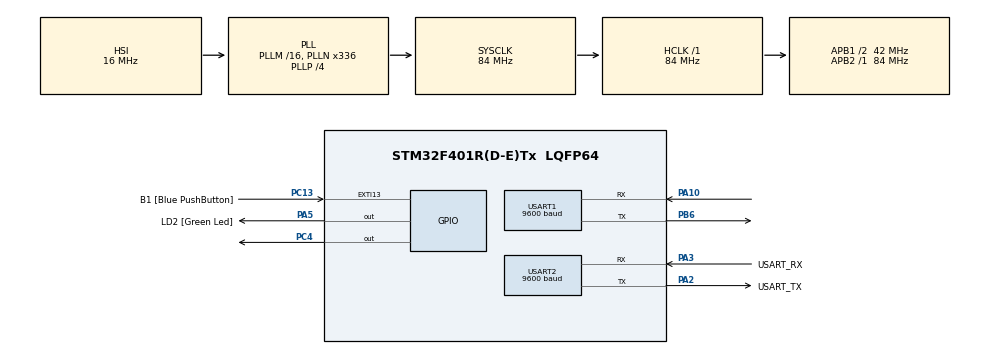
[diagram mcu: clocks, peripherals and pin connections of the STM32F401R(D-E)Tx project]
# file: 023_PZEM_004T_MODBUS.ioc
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Dma.Request0=USART2_RX
Dma.USART2_RX.0.Direction=DMA_PERIPH_TO_MEMORY
Dma.USART2_RX.0.FIFOMode=DMA_FIFOMODE_DISABLE
Dma.USART2_RX.0.Instance=DMA1_Stream5
Dma.USART2_RX.0.MemDataAlignment=DMA_MDATAALIGN_BYTE
Dma.USART2_RX.0.MemInc=DMA_MINC_ENABLE
Dma.USART2_RX.0.Mode=DMA_CIRCULAR
Dma.USART2_RX.0.PeriphDataAlignment=DMA_PDATAALIGN_BYTE
Dma.USART2_RX.0.PeriphInc=DMA_PINC_DISABLE
Dma.USART2_RX.0.Priority=DMA_PRIORITY_LOW
Mcu.Family=STM32F4
Mcu.Name=STM32F401R(D-E)Tx
Mcu.Package=LQFP64
NVIC.DMA1_Stream5_IRQn=true\:0\:0\:false\:false\:true\:false\:true\:true
NVIC.PriorityGroup=NVIC_PRIORITYGROUP_0
NVIC.USART1_IRQn=true\:0\:0\:false\:false\:true\:true\:true\:true
PA10.Mode=Asynchronous
PA10.Signal=USART1_RX
PA13.GPIO_Label=TMS
PA13.Mode=Serial_Wire
PA13.Signal=SYS_JTMS-SWDIO
PA14.GPIO_Label=TCK
PA14.Mode=Serial_Wire
PA14.Signal=SYS_JTCK-SWCLK
PA2.GPIO_Label=USART_TX
PA2.GPIO_Mode=GPIO_MODE_AF_PP
PA2.GPIO_PuPd=GPIO_NOPULL
PA2.GPIO_Speed=GPIO_SPEED_FREQ_LOW
PA2.Mode=Asynchronous
PA2.Signal=USART2_TX
PA3.GPIO_Label=USART_RX
PA3.GPIO_Mode=GPIO_MODE_AF_PP
PA3.GPIO_PuPd=GPIO_NOPULL
PA3.GPIO_Speed=GPIO_SPEED_FREQ_LOW
PA3.Mode=Asynchronous
PA3.Signal=USART2_RX
PA5.GPIO_Label=LD2 [Green Led]
PA5.GPIO_Mode=GPIO_MODE_OUTPUT_PP
PA5.GPIO_PuPd=GPIO_NOPULL
PA5.GPIO_Speed=GPIO_SPEED_FREQ_LOW
PA5.Signal=GPIO_Output
PB3.GPIO_Label=SWO
PB3.Signal=SYS_JTDO-SWO
PB6.Mode=Asynchronous
PB6.Signal=USART1_TX
PC13-ANTI_TAMP.GPIO_Label=B1 [Blue PushButton]
PC13-ANTI_TAMP.GPIO_ModeDefaultEXTI=GPIO_MODE_IT_FALLING
PC13-ANTI_TAMP.GPIO_PuPd=GPIO_NOPULL
PC13-ANTI_TAMP.Signal=GPXTI13
PC14-OSC32_IN.Signal=RCC_OSC32_IN
PC15-OSC32_OUT.Signal=RCC_OSC32_OUT
PC4.Signal=GPIO_Output
PH0\ -\ OSC_IN.Mode=HSE-External-Oscillator
PH0\ -\ OSC_IN.Signal=RCC_OSC_IN
PH1\ -\ OSC_OUT.Mode=HSE-External-Oscillator
PH1\ -\ OSC_OUT.Signal=RCC_OSC_OUT
ProjectManager.HeapSize=0x200
ProjectManager.StackSize=0x400
ProjectManager.TargetToolchain=STM32CubeIDE
RCC.AHBFreq_Value=84000000
RCC.APB1CLKDivider=RCC_HCLK_DIV2
RCC.APB1Freq_Value=42000000
RCC.APB1TimFreq_Value=84000000
RCC.APB2Freq_Value=84000000
RCC.APB2TimFreq_Value=84000000
RCC.CortexFreq_Value=84000000
RCC.HCLKFreq_Value=84000000
RCC.HSE_VALUE=8000000
RCC.HSI_VALUE=16000000
RCC.LSE_VALUE=32768
RCC.PLLN=336
RCC.PLLP=RCC_PLLP_DIV4
RCC.PLLQ=7
RCC.SYSCLKFreq_VALUE=84000000
RCC.SYSCLKSource=RCC_SYSCLKSOURCE_PLLCLK
RCC.VCOOutputFreq_Value=336000000
USART1.BaudRate=9600
USART1.VirtualMode=VM_ASYNC
USART2.BaudRate=9600
USART2.VirtualMode=VM_ASYNC
board=NUCLEO-F401RE

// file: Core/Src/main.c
/* USER CODE BEGIN Header */
/**
  ******************************************************************************
  * @file           : main.c
  * @brief          : Main program body
  ******************************************************************************
  * @attention
  *
  * Copyright (c) 2022 STMicroelectronics.
  * All rights reserved.
  *
  * This software is licensed under terms that can be found in the LICENSE file
  * in the root directory of this software component.
  * If no LICENSE file comes with this software, it is provided AS-IS.
  *
  ******************************************************************************
  */
/* USER CODE END Header */
#include "main.h"

/* USER CODE BEGIN Includes */
#include "pzem004T.h"
#include "stdio.h"
#include "string.h"
#include "stdlib.h"
#include <stdarg.h>
/* USER CODE END Includes */

 UART_HandleTypeDef huart1;
UART_HandleTypeDef huart2;
DMA_HandleTypeDef hdma_usart2_rx;

void SystemClock_Config(void);
static void MX_GPIO_Init(void);
static void MX_DMA_Init(void);
static void MX_USART2_UART_Init(void);
static void MX_USART1_UART_Init(void);
/* USER CODE BEGIN PFP */
uint16_t ModRTU_CRC(uint8_t buf[8], int len)
{
	uint16_t crc = 0xFFFF;

  for (int pos = 0; pos < len; pos++) {
    crc ^= (uint16_t)buf[pos];          // XOR byte into least sig. byte of crc

    for (int i = 8; i != 0; i--) {    // Loop over each bit
      if ((crc & 0x0001) != 0) {      // If the LSB is set
        crc >>= 1;                    // Shift right and XOR 0xA001
        crc ^= 0xA001;
      }
      else                            // Else LSB is not set
        crc >>= 1;                    // Just shift right
    }
  }
  // Note, this number has low and high bytes swapped, so use it accordingly (or swap bytes)
  return crc;
}

// kısıtlamasız  printf fonk
void my_printf(const char *fmt, ...);
void vprint(const char *fmt, va_list argp);

/* USER CODE END PFP */

/* USER CODE BEGIN 0 */
uint8_t  counter=0;
uint8_t modbus_rtu[8];  // 8 byte data
uint8_t modbus_rtu_recive[9];
uint16_t CRC_Check;
uint8_t msg[] = "hello world\n";

pzem PZEM;
/* USER CODE END 0 */

int main(void)
{

  /* MCU Configuration--------------------------------------------------------*/

  /* Reset of all peripherals, Initializes the Flash interface and the Systick. */
  HAL_Init();

  /* Configure the system clock */
  SystemClock_Config();

  /* Initialize all configured peripherals */
  MX_GPIO_Init();
  MX_DMA_Init();
  MX_USART2_UART_Init();
  MX_USART1_UART_Init();
  /* USER CODE BEGIN 2 */
 // HAL_UART_Receive_DMA(&huart2, modbus_rtu_recive, 9);

  PZEM.huart = &huart1;
 modbus_rtu[0] = 0xF8;  // slave ID
 modbus_rtu[1] = 0x04;   // function code
 modbus_rtu[2] = 0x00;   // register adress
 modbus_rtu[3] = 0x00;
 modbus_rtu[4] = 0x00;
 modbus_rtu[5] = 0x01;
 setCRC(modbus_rtu, 8);

 HAL_UART_Receive_IT(PZEM.huart, &PZEM.byteRx, 1);

  init_pzem(&PZEM,PZEM.huart,0);
  HAL_Delay(50);
  my_printf("PZEM Address:%d \n",readAddress(&PZEM));
  /* USER CODE END 2 */

  /* Infinite loop */
  /* USER CODE BEGIN WHILE */
  while (1)
  {

	   //HAL_UART_Transmit(&huart1, modbus_rtu, 8, 100);

      if(updateValues(&PZEM))
       {
    	  // counter++;
    	   HAL_GPIO_TogglePin(GPIOA, GPIO_PIN_5);
    	  // my_printf("Voltage:%.2f \n",PZEM.values.voltage);
    	//   my_printf("Current:%.2f \n",PZEM.values.current);
    	//   my_printf("Power:%.2f \n",PZEM.values.power);
    	 //  my_printf("Energy:%.2f \n",PZEM.values.energy);
    	//   my_printf("Frequency:%.2f \n",PZEM.values.frequency);
      }
      /*my_printf("Voltage:%.2f \n",getVolt(&PZEM));
      my_printf("Current:%.2f \n",getCurrent(&PZEM));
      my_printf("Power:%.2f \n",getPower(&PZEM));
      my_printf("Energy:%.2f \n",getEnergy(&PZEM));
      my_printf("Frequency:%f \n",getFrequency(&PZEM));
      my_printf("PF:%f \n",getpF(&PZEM));

     */
  // HAL_Delay(100);

    /* USER CODE END WHILE */

  }
}

void SystemClock_Config(void)
{
  RCC_OscInitTypeDef RCC_OscInitStruct = {0};
  RCC_ClkInitTypeDef RCC_ClkInitStruct = {0};

  /** Configure the main internal regulator output voltage
  */
  __HAL_RCC_PWR_CLK_ENABLE();
  __HAL_PWR_VOLTAGESCALING_CONFIG(PWR_REGULATOR_VOLTAGE_SCALE2);

  /** Initializes the RCC Oscillators according to the specified parameters
  * in the RCC_OscInitTypeDef structure.
  */
  RCC_OscInitStruct.OscillatorType = RCC_OSCILLATORTYPE_HSI;
  RCC_OscInitStruct.HSIState = RCC_HSI_ON;
  RCC_OscInitStruct.HSICalibrationValue = RCC_HSICALIBRATION_DEFAULT;
  RCC_OscInitStruct.PLL.PLLState = RCC_PLL_ON;
  RCC_OscInitStruct.PLL.PLLSource = RCC_PLLSOURCE_HSI;
  RCC_OscInitStruct.PLL.PLLM = 16;
  RCC_OscInitStruct.PLL.PLLN = 336;
  RCC_OscInitStruct.PLL.PLLP = RCC_PLLP_DIV4;
  RCC_OscInitStruct.PLL.PLLQ = 7;
  if (HAL_RCC_OscConfig(&RCC_OscInitStruct) != HAL_OK)
  {
    Error_Handler();
  }

  /** Initializes the CPU, AHB and APB buses clocks
  */
  RCC_ClkInitStruct.ClockType = RCC_CLOCKTYPE_HCLK|RCC_CLOCKTYPE_SYSCLK
                              |RCC_CLOCKTYPE_PCLK1|RCC_CLOCKTYPE_PCLK2;
  RCC_ClkInitStruct.SYSCLKSource = RCC_SYSCLKSOURCE_PLLCLK;
  RCC_ClkInitStruct.AHBCLKDivider = RCC_SYSCLK_DIV1;
  RCC_ClkInitStruct.APB1CLKDivider = RCC_HCLK_DIV2;
  RCC_ClkInitStruct.APB2CLKDivider = RCC_HCLK_DIV1;

  if (HAL_RCC_ClockConfig(&RCC_ClkInitStruct, FLASH_LATENCY_2) != HAL_OK)
  {
    Error_Handler();
  }
}

static void MX_USART1_UART_Init(void)
{

  huart1.Instance = USART1;
  huart1.Init.BaudRate = 9600;
  huart1.Init.WordLength = UART_WORDLENGTH_8B;
  huart1.Init.StopBits = UART_STOPBITS_1;
  huart1.Init.Parity = UART_PARITY_NONE;
  huart1.Init.Mode = UART_MODE_TX_RX;
  huart1.Init.HwFlowCtl = UART_HWCONTROL_NONE;
  huart1.Init.OverSampling = UART_OVERSAMPLING_16;
  if (HAL_UART_Init(&huart1) != HAL_OK)
  {
    Error_Handler();
  }

}

static void MX_USART2_UART_Init(void)
{

  huart2.Instance = USART2;
  huart2.Init.BaudRate = 9600;
  huart2.Init.WordLength = UART_WORDLENGTH_8B;
  huart2.Init.StopBits = UART_STOPBITS_1;
  huart2.Init.Parity = UART_PARITY_NONE;
  huart2.Init.Mode = UART_MODE_TX_RX;
  huart2.Init.HwFlowCtl = UART_HWCONTROL_NONE;
  huart2.Init.OverSampling = UART_OVERSAMPLING_16;
  if (HAL_UART_Init(&huart2) != HAL_OK)
  {
    Error_Handler();
  }

}

static void MX_DMA_Init(void)
{

  /* DMA controller clock enable */
  __HAL_RCC_DMA1_CLK_ENABLE();

  /* DMA interrupt init */
  /* DMA1_Stream5_IRQn interrupt configuration */
  HAL_NVIC_SetPriority(DMA1_Stream5_IRQn, 0, 0);
  HAL_NVIC_EnableIRQ(DMA1_Stream5_IRQn);

}

static void MX_GPIO_Init(void)
{
  GPIO_InitTypeDef GPIO_InitStruct = {0};

  /* GPIO Ports Clock Enable */
  __HAL_RCC_GPIOC_CLK_ENABLE();
  __HAL_RCC_GPIOH_CLK_ENABLE();
  __HAL_RCC_GPIOA_CLK_ENABLE();
  __HAL_RCC_GPIOB_CLK_ENABLE();

  /*Configure GPIO pin Output Level */
  HAL_GPIO_WritePin(LD2_GPIO_Port, LD2_Pin, GPIO_PIN_RESET);

  /*Configure GPIO pin Output Level */
  HAL_GPIO_WritePin(GPIOC, GPIO_PIN_4, GPIO_PIN_RESET);

  /*Configure GPIO pin : B1_Pin */
  GPIO_InitStruct.Pin = B1_Pin;
  GPIO_InitStruct.Mode = GPIO_MODE_IT_FALLING;
  GPIO_InitStruct.Pull = GPIO_NOPULL;
  HAL_GPIO_Init(B1_GPIO_Port, &GPIO_InitStruct);

  /*Configure GPIO pin : LD2_Pin */
  GPIO_InitStruct.Pin = LD2_Pin;
  GPIO_InitStruct.Mode = GPIO_MODE_OUTPUT_PP;
  GPIO_InitStruct.Pull = GPIO_NOPULL;
  GPIO_InitStruct.Speed = GPIO_SPEED_FREQ_LOW;
  HAL_GPIO_Init(LD2_GPIO_Port, &GPIO_InitStruct);

  /*Configure GPIO pin : PC4 */
  GPIO_InitStruct.Pin = GPIO_PIN_4;
  GPIO_InitStruct.Mode = GPIO_MODE_OUTPUT_PP;
  GPIO_InitStruct.Pull = GPIO_NOPULL;
  GPIO_InitStruct.Speed = GPIO_SPEED_FREQ_LOW;
  HAL_GPIO_Init(GPIOC, &GPIO_InitStruct);

}

/* USER CODE BEGIN 4 */
void HAL_UART_RxCpltCallback(UART_HandleTypeDef *huart) {

	if(PZEM.rxbufferIndex >30)
	{
		 PZEM.rxbufferIndex=0;
	}

	if (huart->Instance == UART_PZEM) //queried which uart is used
	{
		HAL_UART_Receive_IT(PZEM.huart,&PZEM.byteRx, 1);
		PZEM.rxBuffer[PZEM.rxbufferIndex] =PZEM.byteRx;
		PZEM.rxbufferIndex++;
	}

}

void vprint(const char *fmt, va_list argp) {
	char string[200];
	if (0 < vsprintf(string, fmt, argp)) // build string
			{
		HAL_UART_Transmit(&huart2, (uint8_t*) string, strlen(string), 0xffffff); // send message via UART
	}

}

void my_printf(const char *fmt, ...) // custom printf() PC.function
{
	va_list argp;
	va_start(argp, fmt);
	vprint(fmt, argp);
	va_end(argp);
}

/* USER CODE END 4 */

void Error_Handler(void)
{
  __disable_irq();
  while (1)
  {
  }
}
